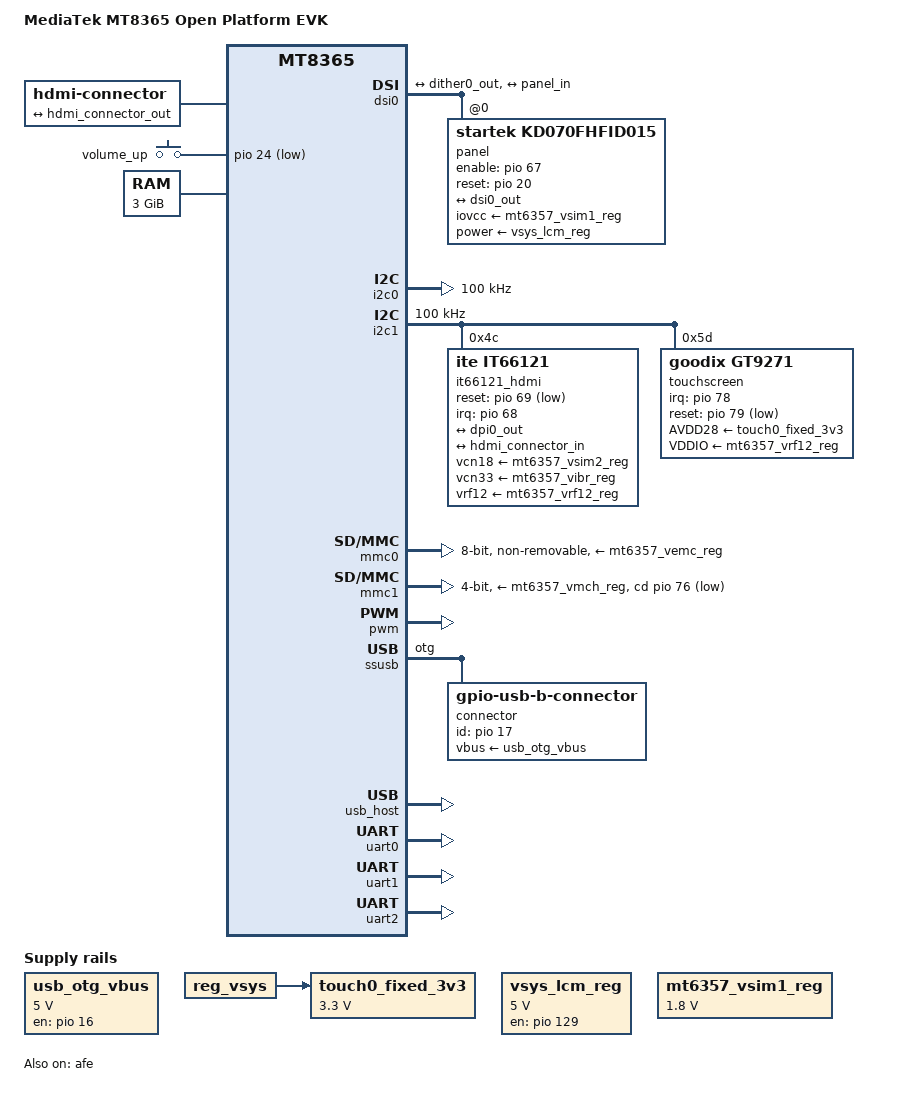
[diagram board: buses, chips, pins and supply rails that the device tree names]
// SPDX-License-Identifier: GPL-2.0
/*
 * Copyright (c) 2021-2022 BayLibre, SAS.
 * Authors:
 * Fabien Parent <fparent@baylibre.com>
 * Bernhard Rosenkränzer <bero@baylibre.com>
 * Alexandre Mergnat <amergnat@baylibre.com>
 */

/dts-v1/;

#include <dt-bindings/gpio/gpio.h>
#include <dt-bindings/input/input.h>
#include <dt-bindings/pinctrl/mt8365-pinfunc.h>
#include "mt8365.dtsi"
#include "mt6357.dtsi"

/ {
	model = "MediaTek MT8365 Open Platform EVK";
	compatible = "mediatek,mt8365-evk", "mediatek,mt8365";

	aliases {
		serial0 = &uart0;
		ethernet = &ethernet;
	};

	chosen {
		stdout-path = "serial0:921600n8";
	};

	connector {
		compatible = "hdmi-connector";
		label = "hdmi";
		type = "d";

		port {
			#address-cells = <1>;
			#size-cells = <0>;
			hdmi_connector_in: endpoint@0 {
				reg = <0>;
				remote-endpoint = <&hdmi_connector_out>;
			};
		};
	};

	firmware {
		optee {
			compatible = "linaro,optee-tz";
			method = "smc";
		};
	};

	gpio-keys {
		compatible = "gpio-keys";
		pinctrl-names = "default";
		pinctrl-0 = <&gpio_keys>;

		key-volume-up {
			gpios = <&pio 24 GPIO_ACTIVE_LOW>;
			label = "volume_up";
			linux,code = <KEY_VOLUMEUP>;
			wakeup-source;
			debounce-interval = <15>;
		};
	};

	memory@40000000 {
		device_type = "memory";
		reg = <0 0x40000000 0 0xc0000000>;
	};

	usb_otg_vbus: regulator-0 {
		compatible = "regulator-fixed";
		regulator-name = "otg_vbus";
		regulator-min-microvolt = <5000000>;
		regulator-max-microvolt = <5000000>;
		gpio = <&pio 16 GPIO_ACTIVE_HIGH>;
		enable-active-high;
	};

	reg_vsys: regulator-vsys {
		compatible = "regulator-fixed";
		regulator-name = "vsys";
		regulator-always-on;
		regulator-boot-on;
	};

	touch0_fixed_3v3: regulator-vio33tp {
		compatible = "regulator-fixed";
		regulator-name = "vio33_tp";
		regulator-min-microvolt = <3300000>;
		regulator-max-microvolt = <3300000>;
		vin-supply = <&reg_vsys>;
	};

	reserved-memory {
		#address-cells = <2>;
		#size-cells = <2>;
		ranges;

		/* 192 KiB reserved for ARM Trusted Firmware (BL31) */
		bl31_secmon_reserved: secmon@43000000 {
			no-map;
			reg = <0 0x43000000 0 0x30000>;
		};

		/* 12 MiB reserved for OP-TEE (BL32)
		 * +-----------------------+ 0x43e0_0000
		 * |      SHMEM 2MiB       |
		 * +-----------------------+ 0x43c0_0000
		 * |        | TA_RAM  8MiB |
		 * + TZDRAM +--------------+ 0x4340_0000
		 * |        | TEE_RAM 2MiB |
		 * +-----------------------+ 0x4320_0000
		 */
		optee_reserved: optee@43200000 {
			no-map;
			reg = <0 0x43200000 0 0x00c00000>;
		};
	};

	sound: sound {
		compatible = "mediatek,mt8365-mt6357";
		pinctrl-names = "default",
				"dmic",
				"miso_off",
				"miso_on",
				"mosi_off",
				"mosi_on";
		pinctrl-0 = <&aud_default_pins>;
		pinctrl-1 = <&aud_dmic_pins>;
		pinctrl-2 = <&aud_miso_off_pins>;
		pinctrl-3 = <&aud_miso_on_pins>;
		pinctrl-4 = <&aud_mosi_off_pins>;
		pinctrl-5 = <&aud_mosi_on_pins>;
		mediatek,platform = <&afe>;
	};

	vsys_lcm_reg: regulator-vsys-lcm {
		compatible = "regulator-fixed";
		enable-active-high;
		gpio = <&pio 129 GPIO_ACTIVE_HIGH>;
		regulator-max-microvolt = <5000000>;
		regulator-min-microvolt = <5000000>;
		regulator-name = "vsys_lcm";
	};

};

&afe {
	mediatek,dmic-mode = <1>;
	status = "okay";
};

&cpu0 {
	proc-supply = <&mt6357_vproc_reg>;
	sram-supply = <&mt6357_vsram_proc_reg>;
};

&cpu1 {
	proc-supply = <&mt6357_vproc_reg>;
	sram-supply = <&mt6357_vsram_proc_reg>;
};

&cpu2 {
	proc-supply = <&mt6357_vproc_reg>;
	sram-supply = <&mt6357_vsram_proc_reg>;
};

&cpu3 {
	proc-supply = <&mt6357_vproc_reg>;
	sram-supply = <&mt6357_vsram_proc_reg>;
};

&dither0_out {
	remote-endpoint = <&dsi0_in>;
};

&dpi0 {
	pinctrl-0 = <&dpi_default_pins>;
	pinctrl-1 = <&dpi_idle_pins>;
	pinctrl-names = "default", "sleep";
	/*
	 * Ethernet and HDMI (DPI0) are sharing pins.
	 * Only one can be enabled at a time and require the physical switch
	 * SW2101 to be set on LAN position
	 */
	status = "disabled";

	ports {
		#address-cells = <1>;
		#size-cells = <0>;

		port@0 {
			#address-cells = <1>;
			#size-cells = <0>;
			reg = <0>;
			dpi0_in: endpoint@1 {
				reg = <1>;
				remote-endpoint = <&rdma1_out>;
			};
		};

		port@1 {
			#address-cells = <1>;
			#size-cells = <0>;
			reg = <1>;
			dpi0_out: endpoint@1 {
				reg = <1>;
				remote-endpoint = <&it66121_in>;
			};
		};
	};
};

&dsi0 {
	#address-cells = <1>;
	#size-cells = <0>;
	status = "okay";

	panel@0 {
		compatible = "startek,kd070fhfid015";
		reg = <0>;
		enable-gpios = <&pio 67 GPIO_ACTIVE_HIGH>;
		reset-gpios = <&pio 20 GPIO_ACTIVE_HIGH>;
		iovcc-supply = <&mt6357_vsim1_reg>;
		power-supply = <&vsys_lcm_reg>;

		port {
			#address-cells = <1>;
			#size-cells = <0>;
			panel_in: endpoint@0 {
				reg = <0>;
				remote-endpoint = <&dsi0_out>;
			};
		};
	};
	ports {
		#address-cells = <1>;
		#size-cells = <0>;

		port@0 {
			#address-cells = <1>;
			#size-cells = <0>;
			reg = <0>;
			dsi0_in: endpoint@0 {
				reg = <0>;
				remote-endpoint = <&dither0_out>;
			};
		};

		port@1 {
			#address-cells = <1>;
			#size-cells = <0>;
			reg = <1>;
			dsi0_out: endpoint@0 {
				reg = <0>;
				remote-endpoint = <&panel_in>;
			};
		};
	};
};

&ethernet {
	pinctrl-0 = <&ethernet_pins>;
	pinctrl-names = "default";
	phy-handle = <&eth_phy>;
	phy-mode = "rmii";
	/*
	 * Ethernet and HDMI (DPI0) are sharing pins.
	 * Only one can be enabled at a time and require the physical switch
	 * SW2101 to be set on LAN position
	 * mt6357_vibr_reg and mt6357_vsim2_reg are needed to supply ethernet
	 */
	status = "disabled";

	mdio {
		#address-cells = <1>;
		#size-cells = <0>;

		eth_phy: ethernet-phy@0 {
			reg = <0>;
		};
	};
};

&i2c0 {
	clock-frequency = <100000>;
	pinctrl-0 = <&i2c0_pins>;
	pinctrl-names = "default";
	status = "okay";
};

&i2c1 {
	#address-cells = <1>;
	#size-cells = <0>;
	clock-div = <2>;
	clock-frequency = <100000>;
	pinctrl-0 = <&i2c1_pins>;
	pinctrl-names = "default";
	status = "okay";

	it66121_hdmi: hdmi@4c {
		compatible = "ite,it66121";
		reg = <0x4c>;
		#sound-dai-cells = <0>;
		interrupt-parent = <&pio>;
		interrupts = <68 IRQ_TYPE_LEVEL_LOW>;
		pinctrl-0 = <&ite_pins>;
		pinctrl-names = "default";
		reset-gpios = <&pio 69 GPIO_ACTIVE_LOW>;
		vcn18-supply = <&mt6357_vsim2_reg>;
		vcn33-supply = <&mt6357_vibr_reg>;
		vrf12-supply = <&mt6357_vrf12_reg>;

		ports {
			#address-cells = <1>;
			#size-cells = <0>;

			port@0 {
				#address-cells = <1>;
				#size-cells = <0>;
				reg = <0>;
				it66121_in: endpoint@0 {
					reg = <0>;
					bus-width = <12>;
					remote-endpoint = <&dpi0_out>;
				};
			};

			port@1 {
				#address-cells = <1>;
				#size-cells = <0>;
				reg = <1>;
				hdmi_connector_out: endpoint@0 {
					reg = <0>;
					remote-endpoint = <&hdmi_connector_in>;
				};
			};
		};
	};

	touchscreen@5d {
		compatible = "goodix,gt9271";
		reg = <0x5d>;
		interrupts-extended = <&pio 78 IRQ_TYPE_EDGE_FALLING>;
		pinctrl-names = "default";
		pinctrl-0 = <&touch_pins>;
		irq-gpios = <&pio 78 GPIO_ACTIVE_HIGH>;
		reset-gpios = <&pio 79 GPIO_ACTIVE_LOW>;
		AVDD28-supply = <&touch0_fixed_3v3>;
		VDDIO-supply = <&mt6357_vrf12_reg>;
	};
};

&mmc0 {
	assigned-clock-parents = <&topckgen CLK_TOP_MSDCPLL>;
	assigned-clocks = <&topckgen CLK_TOP_MSDC50_0_SEL>;
	bus-width = <8>;
	cap-mmc-highspeed;
	cap-mmc-hw-reset;
	hs400-ds-delay = <0x12012>;
	max-frequency = <200000000>;
	mmc-hs200-1_8v;
	mmc-hs400-1_8v;
	no-sd;
	no-sdio;
	non-removable;
	pinctrl-0 = <&mmc0_default_pins>;
	pinctrl-1 = <&mmc0_uhs_pins>;
	pinctrl-names = "default", "state_uhs";
	vmmc-supply = <&mt6357_vemc_reg>;
	vqmmc-supply = <&mt6357_vio18_reg>;
	status = "okay";
};

&mmc1 {
	bus-width = <4>;
	cap-sd-highspeed;
	cd-gpios = <&pio 76 GPIO_ACTIVE_LOW>;
	max-frequency = <200000000>;
	pinctrl-0 = <&mmc1_default_pins>;
	pinctrl-1 = <&mmc1_uhs_pins>;
	pinctrl-names = "default", "state_uhs";
	sd-uhs-sdr104;
	sd-uhs-sdr50;
	vmmc-supply = <&mt6357_vmch_reg>;
	vqmmc-supply = <&mt6357_vmc_reg>;
	status = "okay";
};

&mt6357_pmic {
	interrupts-extended = <&pio 145 IRQ_TYPE_LEVEL_HIGH>;
	interrupt-controller;
	#interrupt-cells = <2>;
	mediatek,micbias0-microvolt = <1900000>;
	mediatek,micbias1-microvolt = <1700000>;
};

&mt6357_vsim1_reg {
	regulator-min-microvolt = <1800000>;
	regulator-max-microvolt = <1800000>;
};

&pio {
	aud_default_pins: audiodefault-pins {
		clk-dat-pins {
			pinmux = <MT8365_PIN_72_CMDAT4__FUNC_I2S3_BCK>,
				 <MT8365_PIN_73_CMDAT5__FUNC_I2S3_LRCK>,
				 <MT8365_PIN_74_CMDAT6__FUNC_I2S3_MCK>,
				 <MT8365_PIN_75_CMDAT7__FUNC_I2S3_DO>;
		};
	};

	aud_dmic_pins: audiodmic-pins {
		clk-dat-pins {
			pinmux = <MT8365_PIN_117_DMIC0_CLK__FUNC_DMIC0_CLK>,
				 <MT8365_PIN_118_DMIC0_DAT0__FUNC_DMIC0_DAT0>,
				 <MT8365_PIN_119_DMIC0_DAT1__FUNC_DMIC0_DAT1>;
		};
	};

	aud_miso_off_pins: misooff-pins {
		clk-dat-pins {
			pinmux = <MT8365_PIN_53_AUD_CLK_MISO__FUNC_GPIO53>,
				 <MT8365_PIN_54_AUD_SYNC_MISO__FUNC_GPIO54>,
				 <MT8365_PIN_55_AUD_DAT_MISO0__FUNC_GPIO55>,
				 <MT8365_PIN_56_AUD_DAT_MISO1__FUNC_GPIO56>;
			input-enable;
			bias-pull-down;
			drive-strength = <2>;
		};
	};

	aud_miso_on_pins: misoon-pins {
		clk-dat-pins {
			pinmux = <MT8365_PIN_53_AUD_CLK_MISO__FUNC_AUD_CLK_MISO>,
				 <MT8365_PIN_54_AUD_SYNC_MISO__FUNC_AUD_SYNC_MISO>,
				 <MT8365_PIN_55_AUD_DAT_MISO0__FUNC_AUD_DAT_MISO0>,
				 <MT8365_PIN_56_AUD_DAT_MISO1__FUNC_AUD_DAT_MISO1>;
			drive-strength = <6>;
		};
	};

	aud_mosi_off_pins: mosioff-pins {
		clk-dat-pins {
			pinmux = <MT8365_PIN_49_AUD_CLK_MOSI__FUNC_GPIO49>,
				 <MT8365_PIN_50_AUD_SYNC_MOSI__FUNC_GPIO50>,
				 <MT8365_PIN_51_AUD_DAT_MOSI0__FUNC_GPIO51>,
				 <MT8365_PIN_52_AUD_DAT_MOSI1__FUNC_GPIO52>;
			input-enable;
			bias-pull-down;
			drive-strength = <2>;
		};
	};

	aud_mosi_on_pins: mosion-pins {
		clk-dat-pins {
			pinmux = <MT8365_PIN_49_AUD_CLK_MOSI__FUNC_AUD_CLK_MOSI>,
				 <MT8365_PIN_50_AUD_SYNC_MOSI__FUNC_AUD_SYNC_MOSI>,
				 <MT8365_PIN_51_AUD_DAT_MOSI0__FUNC_AUD_DAT_MOSI0>,
				 <MT8365_PIN_52_AUD_DAT_MOSI1__FUNC_AUD_DAT_MOSI1>;
			drive-strength = <6>;
		};
	};

	dpi_default_pins: dpi-default-pins {
		pins {
			pinmux = <MT8365_PIN_0_GPIO0__FUNC_DPI_D0>,
				 <MT8365_PIN_1_GPIO1__FUNC_DPI_D1>,
				 <MT8365_PIN_2_GPIO2__FUNC_DPI_D2>,
				 <MT8365_PIN_3_GPIO3__FUNC_DPI_D3>,
				 <MT8365_PIN_4_GPIO4__FUNC_DPI_D4>,
				 <MT8365_PIN_5_GPIO5__FUNC_DPI_D5>,
				 <MT8365_PIN_6_GPIO6__FUNC_DPI_D6>,
				 <MT8365_PIN_7_GPIO7__FUNC_DPI_D7>,
				 <MT8365_PIN_8_GPIO8__FUNC_DPI_D8>,
				 <MT8365_PIN_9_GPIO9__FUNC_DPI_D9>,
				 <MT8365_PIN_10_GPIO10__FUNC_DPI_D10>,
				 <MT8365_PIN_11_GPIO11__FUNC_DPI_D11>,
				 <MT8365_PIN_12_GPIO12__FUNC_DPI_DE>,
				 <MT8365_PIN_13_GPIO13__FUNC_DPI_VSYNC>,
				 <MT8365_PIN_14_GPIO14__FUNC_DPI_CK>,
				 <MT8365_PIN_15_GPIO15__FUNC_DPI_HSYNC>;
			drive-strength = <4>;
		};
	};

	dpi_idle_pins: dpi-idle-pins {
		pins {
			pinmux = <MT8365_PIN_0_GPIO0__FUNC_GPIO0>,
				 <MT8365_PIN_1_GPIO1__FUNC_GPIO1>,
				 <MT8365_PIN_2_GPIO2__FUNC_GPIO2>,
				 <MT8365_PIN_3_GPIO3__FUNC_GPIO3>,
				 <MT8365_PIN_4_GPIO4__FUNC_GPIO4>,
				 <MT8365_PIN_5_GPIO5__FUNC_GPIO5>,
				 <MT8365_PIN_6_GPIO6__FUNC_GPIO6>,
				 <MT8365_PIN_7_GPIO7__FUNC_GPIO7>,
				 <MT8365_PIN_8_GPIO8__FUNC_GPIO8>,
				 <MT8365_PIN_9_GPIO9__FUNC_GPIO9>,
				 <MT8365_PIN_10_GPIO10__FUNC_GPIO10>,
				 <MT8365_PIN_11_GPIO11__FUNC_GPIO11>,
				 <MT8365_PIN_12_GPIO12__FUNC_GPIO12>,
				 <MT8365_PIN_13_GPIO13__FUNC_GPIO13>,
				 <MT8365_PIN_14_GPIO14__FUNC_GPIO14>,
				 <MT8365_PIN_15_GPIO15__FUNC_GPIO15>;
		};
	};

	ethernet_pins: ethernet-pins {
		phy_reset_pins {
			pinmux = <MT8365_PIN_133_TDM_TX_DATA1__FUNC_GPIO133>;
		};

		rmii_pins {
			pinmux = <MT8365_PIN_0_GPIO0__FUNC_EXT_TXD0>,
				 <MT8365_PIN_1_GPIO1__FUNC_EXT_TXD1>,
				 <MT8365_PIN_2_GPIO2__FUNC_EXT_TXD2>,
				 <MT8365_PIN_3_GPIO3__FUNC_EXT_TXD3>,
				 <MT8365_PIN_4_GPIO4__FUNC_EXT_TXC>,
				 <MT8365_PIN_5_GPIO5__FUNC_EXT_RXER>,
				 <MT8365_PIN_6_GPIO6__FUNC_EXT_RXC>,
				 <MT8365_PIN_7_GPIO7__FUNC_EXT_RXDV>,
				 <MT8365_PIN_8_GPIO8__FUNC_EXT_RXD0>,
				 <MT8365_PIN_9_GPIO9__FUNC_EXT_RXD1>,
				 <MT8365_PIN_10_GPIO10__FUNC_EXT_RXD2>,
				 <MT8365_PIN_11_GPIO11__FUNC_EXT_RXD3>,
				 <MT8365_PIN_12_GPIO12__FUNC_EXT_TXEN>,
				 <MT8365_PIN_13_GPIO13__FUNC_EXT_COL>,
				 <MT8365_PIN_14_GPIO14__FUNC_EXT_MDIO>,
				 <MT8365_PIN_15_GPIO15__FUNC_EXT_MDC>;
		};
	};

	gpio_keys: gpio-keys-pins {
		pins {
			pinmux = <MT8365_PIN_24_KPCOL0__FUNC_KPCOL0>;
			bias-pull-up;
			input-enable;
		};
	};

	i2c0_pins: i2c0-pins {
		pins {
			pinmux = <MT8365_PIN_57_SDA0__FUNC_SDA0_0>,
				 <MT8365_PIN_58_SCL0__FUNC_SCL0_0>;
			bias-pull-up;
		};
	};

	i2c1_pins: i2c1-pins {
		pins {
			pinmux = <MT8365_PIN_59_SDA1__FUNC_SDA1_0>,
				 <MT8365_PIN_60_SCL1__FUNC_SCL1_0>;
			bias-pull-up;
		};
	};

	ite_pins: ite-pins {
		irq_ite_pins {
			pinmux = <MT8365_PIN_68_CMDAT0__FUNC_GPIO68>;
			input-enable;
			bias-pull-up;
		};

		pwr_pins {
			pinmux = <MT8365_PIN_70_CMDAT2__FUNC_GPIO70>,
				 <MT8365_PIN_71_CMDAT3__FUNC_GPIO71>;
			output-high;
		};

		rst_ite_pins {
			pinmux = <MT8365_PIN_69_CMDAT1__FUNC_GPIO69>;
			output-high;
		};
	};

	mmc0_default_pins: mmc0-default-pins {
		clk-pins {
			pinmux = <MT8365_PIN_99_MSDC0_CLK__FUNC_MSDC0_CLK>;
			bias-pull-down;
		};

		cmd-dat-pins {
			pinmux = <MT8365_PIN_103_MSDC0_DAT0__FUNC_MSDC0_DAT0>,
				 <MT8365_PIN_102_MSDC0_DAT1__FUNC_MSDC0_DAT1>,
				 <MT8365_PIN_101_MSDC0_DAT2__FUNC_MSDC0_DAT2>,
				 <MT8365_PIN_100_MSDC0_DAT3__FUNC_MSDC0_DAT3>,
				 <MT8365_PIN_96_MSDC0_DAT4__FUNC_MSDC0_DAT4>,
				 <MT8365_PIN_95_MSDC0_DAT5__FUNC_MSDC0_DAT5>,
				 <MT8365_PIN_94_MSDC0_DAT6__FUNC_MSDC0_DAT6>,
				 <MT8365_PIN_93_MSDC0_DAT7__FUNC_MSDC0_DAT7>,
				 <MT8365_PIN_98_MSDC0_CMD__FUNC_MSDC0_CMD>;
			input-enable;
			bias-pull-up;
		};

		rst-pins {
			pinmux = <MT8365_PIN_97_MSDC0_RSTB__FUNC_MSDC0_RSTB>;
			bias-pull-up;
		};
	};

	mmc0_uhs_pins: mmc0-uhs-pins {
		clk-pins {
			pinmux = <MT8365_PIN_99_MSDC0_CLK__FUNC_MSDC0_CLK>;
			drive-strength = <MTK_DRIVE_10mA>;
			bias-pull-down = <MTK_PUPD_SET_R1R0_10>;
		};

		cmd-dat-pins {
			pinmux = <MT8365_PIN_103_MSDC0_DAT0__FUNC_MSDC0_DAT0>,
				 <MT8365_PIN_102_MSDC0_DAT1__FUNC_MSDC0_DAT1>,
				 <MT8365_PIN_101_MSDC0_DAT2__FUNC_MSDC0_DAT2>,
				 <MT8365_PIN_100_MSDC0_DAT3__FUNC_MSDC0_DAT3>,
				 <MT8365_PIN_96_MSDC0_DAT4__FUNC_MSDC0_DAT4>,
				 <MT8365_PIN_95_MSDC0_DAT5__FUNC_MSDC0_DAT5>,
				 <MT8365_PIN_94_MSDC0_DAT6__FUNC_MSDC0_DAT6>,
				 <MT8365_PIN_93_MSDC0_DAT7__FUNC_MSDC0_DAT7>,
				 <MT8365_PIN_98_MSDC0_CMD__FUNC_MSDC0_CMD>;
			input-enable;
			drive-strength = <MTK_DRIVE_10mA>;
			bias-pull-up = <MTK_PUPD_SET_R1R0_01>;
		};

		ds-pins {
			pinmux = <MT8365_PIN_104_MSDC0_DSL__FUNC_MSDC0_DSL>;
			drive-strength = <MTK_DRIVE_10mA>;
			bias-pull-down = <MTK_PUPD_SET_R1R0_10>;
		};

		rst-pins {
			pinmux = <MT8365_PIN_97_MSDC0_RSTB__FUNC_MSDC0_RSTB>;
			drive-strength = <MTK_DRIVE_10mA>;
			bias-pull-up;
		};
	};

	mmc1_default_pins: mmc1-default-pins {
		cd-pins {
			pinmux = <MT8365_PIN_76_CMDAT8__FUNC_GPIO76>;
			bias-pull-up;
		};

		clk-pins {
			pinmux = <MT8365_PIN_88_MSDC1_CLK__FUNC_MSDC1_CLK>;
			bias-pull-down = <MTK_PUPD_SET_R1R0_10>;
		};

		cmd-dat-pins {
			pinmux = <MT8365_PIN_89_MSDC1_DAT0__FUNC_MSDC1_DAT0>,
				 <MT8365_PIN_90_MSDC1_DAT1__FUNC_MSDC1_DAT1>,
				 <MT8365_PIN_91_MSDC1_DAT2__FUNC_MSDC1_DAT2>,
				 <MT8365_PIN_92_MSDC1_DAT3__FUNC_MSDC1_DAT3>,
				 <MT8365_PIN_87_MSDC1_CMD__FUNC_MSDC1_CMD>;
			input-enable;
			bias-pull-up = <MTK_PUPD_SET_R1R0_01>;
		};
	};

	mmc1_uhs_pins: mmc1-uhs-pins {
		clk-pins {
			pinmux = <MT8365_PIN_88_MSDC1_CLK__FUNC_MSDC1_CLK>;
			drive-strength = <8>;
			bias-pull-down = <MTK_PUPD_SET_R1R0_10>;
		};

		cmd-dat-pins {
			pinmux = <MT8365_PIN_89_MSDC1_DAT0__FUNC_MSDC1_DAT0>,
				 <MT8365_PIN_90_MSDC1_DAT1__FUNC_MSDC1_DAT1>,
				 <MT8365_PIN_91_MSDC1_DAT2__FUNC_MSDC1_DAT2>,
				 <MT8365_PIN_92_MSDC1_DAT3__FUNC_MSDC1_DAT3>,
				 <MT8365_PIN_87_MSDC1_CMD__FUNC_MSDC1_CMD>;
			input-enable;
			drive-strength = <6>;
			bias-pull-up = <MTK_PUPD_SET_R1R0_01>;
		};
	};

	touch_pins: touch-pins {
		ctp-int1-pins {
			pinmux = <MT8365_PIN_78_CMHSYNC__FUNC_GPIO78>;
			input-enable;
			bias-disable;
		};

		rst-pins {
			pinmux = <MT8365_PIN_79_CMVSYNC__FUNC_GPIO79>;
			output-low;
		};
	};

	uart0_pins: uart0-pins {
		pins {
			pinmux = <MT8365_PIN_35_URXD0__FUNC_URXD0>,
				 <MT8365_PIN_36_UTXD0__FUNC_UTXD0>;
		};
	};

	uart1_pins: uart1-pins {
		pins {
			pinmux = <MT8365_PIN_37_URXD1__FUNC_URXD1>,
				 <MT8365_PIN_38_UTXD1__FUNC_UTXD1>;
		};
	};

	uart2_pins: uart2-pins {
		pins {
			pinmux = <MT8365_PIN_39_URXD2__FUNC_URXD2>,
				 <MT8365_PIN_40_UTXD2__FUNC_UTXD2>;
		};
	};

	usb_pins: usb-pins {
		id-pins {
			pinmux = <MT8365_PIN_17_GPIO17__FUNC_GPIO17>;
			input-enable;
			bias-pull-up;
		};

		usb0-vbus-pins {
			pinmux = <MT8365_PIN_16_GPIO16__FUNC_USB_DRVVBUS>;
			output-high;
		};

		usb1-vbus-pins {
			pinmux = <MT8365_PIN_18_GPIO18__FUNC_GPIO18>;
			output-high;
		};
	};

	pwm_pins: pwm-pins {
		pins {
			pinmux = <MT8365_PIN_19_DISP_PWM__FUNC_PWM_A>,
				 <MT8365_PIN_116_I2S_BCK__FUNC_PWM_C>;
		};
	};
};

&pwm {
	pinctrl-0 = <&pwm_pins>;
	pinctrl-names = "default";
	status = "okay";
};

&rdma1_out {
	remote-endpoint = <&dpi0_in>;
};

&ssusb {
	dr_mode = "otg";
	maximum-speed = "high-speed";
	pinctrl-0 = <&usb_pins>;
	pinctrl-names = "default";
	usb-role-switch;
	vusb33-supply = <&mt6357_vusb33_reg>;
	status = "okay";

	connector {
		compatible = "gpio-usb-b-connector", "usb-b-connector";
		id-gpios = <&pio 17 GPIO_ACTIVE_HIGH>;
		type = "micro";
		vbus-supply = <&usb_otg_vbus>;
	};
};

&usb_host {
	vusb33-supply = <&mt6357_vusb33_reg>;
	status = "okay";
};

&uart0 {
	pinctrl-0 = <&uart0_pins>;
	pinctrl-names = "default";
	status = "okay";
};

&uart1 {
	pinctrl-0 = <&uart1_pins>;
	pinctrl-names = "default";
	status = "okay";
};

&uart2 {
	pinctrl-0 = <&uart2_pins>;
	pinctrl-names = "default";
	status = "okay";
};
